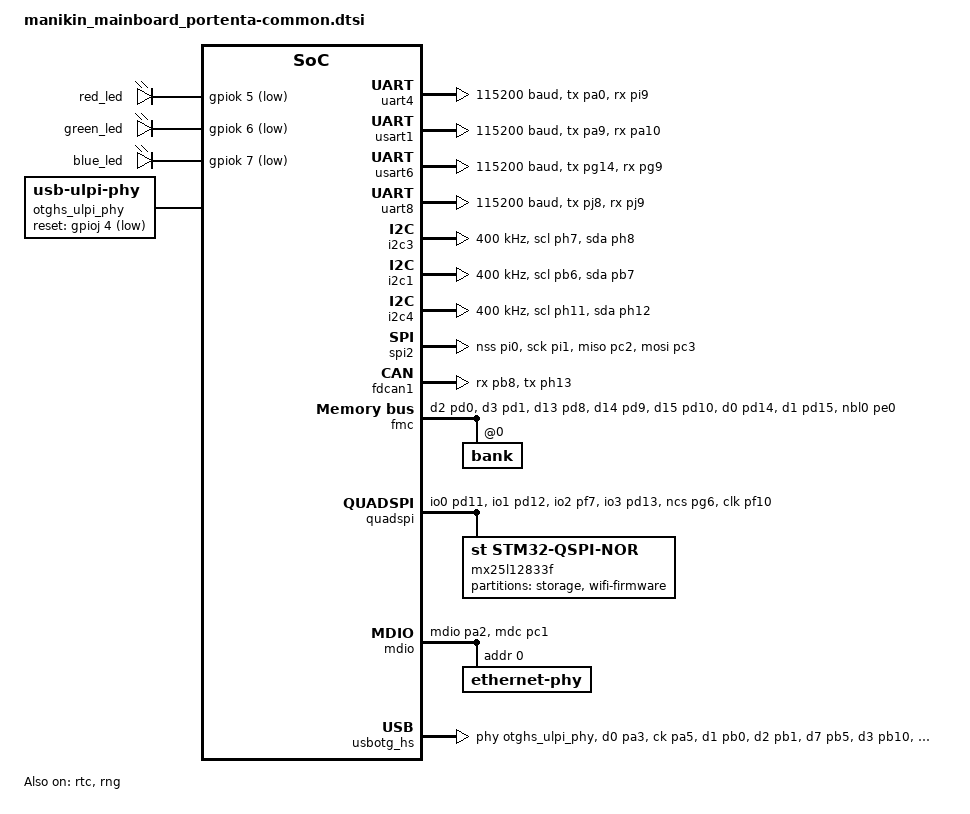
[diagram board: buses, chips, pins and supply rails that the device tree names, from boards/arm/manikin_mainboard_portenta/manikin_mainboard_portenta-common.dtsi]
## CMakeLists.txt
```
# SPDX-License-Identifier: Apache-2.0

#include <stm32h7xx_hal.h>
#include <stm32h7xx_hal_conf.h>
#include <stm32h7xx_hal_rcc.h>
#include <stm32h7xx_hal_pwr.h>

cmake_minimum_required(VERSION 3.20.0)
find_package(Zephyr REQUIRED HINTS $ENV{ZEPHYR_BASE})
project(st_ble_sensor)
zephyr_include_directories(
    src
    src/ble
    src/message_processor
)



target_sources(app PRIVATE
  src/main.c
  src/basic_implementation.c
  src/can/can_transport.c
  src/message_processor/message_processor_simple.c
  src/ble/led_svc.c
  src/ble/ble_protocol.c
  src/ble/crc/crc16_koopman.c
  src/ble/crc/crc16_koopman_hw.c
  src/session/session.c
  src/sdcard/sdcard_module.c
  src/session/led_handler.c
  )

# Add Bluetooth sample includes for reference
zephyr_library_include_directories(${ZEPHYR_BASE}/samples/bluetooth)
```

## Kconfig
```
# Kconfig - CPR Manikin BLE Communication Node

# Copyright (c) 2023 Your Company
# SPDX-License-Identifier: Apache-2.0

mainmenu "CPR Manikin BLE Configuration"

menu "CPR Manikin Application"

config CPR_MANIKIN_BLE_NOTIFICATION_QUEUE_SIZE
	int "Size of BLE notification message queue"
	default 64
	help
	  Maximum number of notifications that can be queued for sending.
	  Increasing this value will allow more notifications to be buffered
	  before dropping or blocking.

config CPR_MANIKIN_MAX_NOTIFICATION_RETRY
	int "Maximum notification retry attempts"
	default 5
	help
	  Maximum number of times to retry sending a notification
	  that failed due to memory errors.

config CPR_MANIKIN_PRIORITY_HIGH_THRESHOLD
	int "Priority threshold for high priority messages"
	default 80
	help
	  Priority value threshold for high priority messages (0-100).
	  Messages with priority >= this value are considered high priority.

config CPR_MANIKIN_PRIORITY_MEDIUM_THRESHOLD
	int "Priority threshold for medium priority messages"
	default 50
	help
	  Priority value threshold for medium priority messages (0-100).
	  Messages with priority >= this value are considered medium priority.

endmenu

source "Kconfig.zephyr"
```

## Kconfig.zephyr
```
source "Kconfig.zephyr"

config APP_STM32HAL
    bool
    default y
    depends on SOC_FAMILY_STM32
    select HAS_STM32CUBE
    select USE_STM32_HAL_CORTEX
    select USE_STM32_HAL_RCC
    select USE_STM32_HAL_GPIO
    select USE_STM32_HAL_RTC
    select USE_STM32_HAL_PWR
    select USE_STM32_HAL_DMA
    select USE_STM32_HAL_FDCAN
```

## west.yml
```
manifest:
  version: 0.11

  projects:
    - name: zephyr
      path: zephyr
      url: https://github.com/zephyrproject-rtos/zephyr
      revision: v4.1.0

    - name: ttcan_scheduler
      path: modules/lib/ttcan_scheduler
      url: https://github.com/Babypatient-kiem/ttcan_scheduler
      revision: main

  self:
    path: .
```

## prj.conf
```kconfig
# Configuration with Bluetooth enabled

CONFIG_PICOLIBC_IO_FLOAT=y
# Basic peripherals
CONFIG_GPIO=y

# Core features
CONFIG_CLOCK_CONTROL=y

# Bluetooth configuration - with increased buffer sizes
CONFIG_BT=y
CONFIG_BT_PERIPHERAL=y
CONFIG_BT_DEVICE_NAME="ManikinTest"
CONFIG_BT_RX_STACK_SIZE=4096
CONFIG_STM32H7_BOOT_M4_AT_INIT=n

CONFIG_SHELL=y
CONFIG_HEAP_MEM_POOL_SIZE=1024

# Increase BLE buffer sizes to handle larger payloads
# Use options compatible with this Zephyr version
CONFIG_BT_BUF_ACL_RX_SIZE=100
CONFIG_BT_BUF_ACL_TX_SIZE=100
CONFIG_BT_CONN_TX_MAX=10

# Ensure we can handle multiple parallel operations
CONFIG_BT_ATT_TX_COUNT=10
CONFIG_BT_ATT_PREPARE_COUNT=5

# Logging configuration
CONFIG_LOG=y
CONFIG_LOG_MAX_LEVEL=4
CONFIG_LOG_MODE_IMMEDIATE=y 
CONFIG_USE_SEGGER_RTT=y
CONFIG_LOG_BACKEND_RTT=y

# Enable CAN and ISOTP
CONFIG_CAN=y
CONFIG_CAN_DEFAULT_BITRATE=500000
CONFIG_ISOTP=y
CONFIG_ISOTP_RX_BUF_COUNT=10
CONFIG_ISOTP_TX_CONTEXT_BUF_COUNT=10
CONFIG_ISOTP_RX_SF_FF_BUF_COUNT=10
# Stack sizes
CONFIG_MAIN_STACK_SIZE=2048
CONFIG_ISR_STACK_SIZE=2048

# Console configuration
CONFIG_RTT_CONSOLE=y
CONFIG_LOG_BACKEND_UART=n
CONFIG_UART_CONSOLE=n

CONFIG_USB_DEVICE_STACK=y
CONFIG_USB_DEVICE_PRODUCT="Zephyr CDC ACM sample"
CONFIG_USB_DEVICE_PID=0x0001
CONFIG_USB_DRIVER_LOG_LEVEL_ERR=y
CONFIG_USB_DEVICE_LOG_LEVEL_ERR=y
CONFIG_SERIAL=y
CONFIG_UART_INTERRUPT_DRIVEN=y
CONFIG_UART_LINE_CTRL=y
CONFIG_USB_DEVICE_INITIALIZE_AT_BOOT=y

#enable disk
CONFIG_DISK_ACCESS=y
CONFIG_DISK_DRIVER_SDMMC=y
CONFIG_SDMMC_STM32=y
CONFIG_FILE_SYSTEM=y                     # Enables file system core
CONFIG_FAT_FILESYSTEM_ELM=y              # Enables ELM FAT driver (default for FATFS)
```

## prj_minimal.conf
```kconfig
# Minimal configuration for debugging build issues

# Basic peripherals
CONFIG_GPIO=y

# Core features
CONFIG_CLOCK_CONTROL=y

# Enable Zephyr CRC library
CONFIG_CRC=y

# Disable Bluetooth to simplify build
CONFIG_BT=n

# Memory management
CONFIG_HEAP_MEM_POOL_SIZE=32768
CONFIG_SYSTEM_WORKQUEUE_STACK_SIZE=4096

# Logging configuration - more verbose for better diagnostics
CONFIG_LOG=y
# Set to WARNING level for more detailed messages
CONFIG_LOG_MAX_LEVEL=3
CONFIG_LOG_MODE_IMMEDIATE=y 
CONFIG_USE_SEGGER_RTT=y
CONFIG_LOG_BACKEND_RTT=y

# Stack sizes
CONFIG_MAIN_STACK_SIZE=4096
CONFIG_ISR_STACK_SIZE=4096

# Console configuration - UART console disabled to avoid DTS issues
CONFIG_RTT_CONSOLE=y
CONFIG_LOG_BACKEND_UART=n
CONFIG_UART_CONSOLE=n

# Watchdog for reliability
CONFIG_WATCHDOG=y

# CPR Manikin custom configuration
CONFIG_CPR_MANIKIN_BLE_NOTIFICATION_QUEUE_SIZE=64
CONFIG_CPR_MANIKIN_MAX_NOTIFICATION_RETRY=5
CONFIG_CPR_MANIKIN_PRIORITY_HIGH_THRESHOLD=80
CONFIG_CPR_MANIKIN_PRIORITY_MEDIUM_THRESHOLD=50
```

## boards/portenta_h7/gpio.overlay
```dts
/ {
    aliases {
            led0 = &myled0;
            sw0 = &mybutton0;  // Link sw0 alias to your button
    };

    leds {
            compatible = "gpio-leds";
            myled0: led_0 {
                    gpios = <&gpiok 5 GPIO_ACTIVE_LOW>;
            };
    };
    keys {
        compatible = "gpio-keys";

        mybutton0: button_0 {
            label = "User Button";
            gpios = <&gpioc 13 (GPIO_PULL_UP | GPIO_ACTIVE_LOW)>;
        };
    };
};
```

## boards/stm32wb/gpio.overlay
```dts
/ {
    aliases {
            led0 = &myled0;
            sw0 = &mybutton0;  // Link sw0 alias to your button
    };

    leds {
            compatible = "gpio-leds";
            myled0: led_0 {
                    gpios = <&gpioa 2 GPIO_ACTIVE_LOW>;
            };
    };
    keys {
        compatible = "gpio-keys";

        mybutton0: button_0 {
            label = "User Button";
            gpios = <&gpioh 3 (GPIO_PULL_UP | GPIO_ACTIVE_LOW)>;
        };
    };
};
```

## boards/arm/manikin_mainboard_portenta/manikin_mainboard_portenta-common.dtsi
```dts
/*
 * Copyright (c) 2022 Benjamin Björnsson <benjamin.bjornsson@gmail.com>.
 *
 * SPDX-License-Identifier: Apache-2.0
 */

#include <mem.h>

/ {
	leds {
		compatible = "gpio-leds";
		red_led: led_0 {
			gpios = <&gpiok 5 GPIO_ACTIVE_LOW>;
		};
		green_led: led_1 {
			gpios = <&gpiok 6 GPIO_ACTIVE_LOW>;
		};
		blue_led: led_2 {
			gpios = <&gpiok 7 GPIO_ACTIVE_LOW>;
		};
	};

	otghs_ulpi_phy: otghs_ulpis_phy {
		compatible = "usb-ulpi-phy";
		reset-gpios = < &gpioj 4 GPIO_ACTIVE_LOW >;
		#phy-cells = <0>;
	};

	aliases {
		led0 = &red_led;
		led1 = &green_led;
		led2 = &blue_led;
	};
};

&clk_hsi48 {
	/* HSI48 required for USB */
	status = "okay";
};

&rcc {
	d1cpre = < 1 >;
	hpre = < 2 >;
	d1ppre = < 2 >;
	d2ppre1 = < 2 >;
	d2ppre2 = < 2 >;
	d3ppre = < 2 >;
};

/* UART0 in datasheet */
&uart4 {
	pinctrl-0 = <&uart4_tx_pa0 &uart4_rx_pi9>;
	pinctrl-names = "default";
	current-speed = <115200>;
};

/* UART1 in datasheet */
&usart1 {
    status = "okay";
    current-speed = <115200>;
    pinctrl-0 = <&usart1_tx_pa9 &usart1_rx_pa10>;
    pinctrl-names = "default";
};

/* UART2 in datasheet */
&usart6 {
	pinctrl-0 = <&usart6_tx_pg14 &usart6_rx_pg9>;
	pinctrl-names = "default";
	current-speed = <115200>;
};

/* UART3 in datasheet */
&uart8 {
	pinctrl-0 = <&uart8_tx_pj8 &uart8_rx_pj9>;
	pinctrl-names = "default";
	current-speed = <115200>;
};

/* I2C0 in datasheet */
&i2c3 {
	pinctrl-0 = <&i2c3_scl_ph7 &i2c3_sda_ph8>;
	pinctrl-names = "default";
	clock-frequency = <I2C_BITRATE_FAST>;
};

/* I2C1 in datasheet */
&i2c1 {
	pinctrl-0 = <&i2c1_scl_pb6 &i2c1_sda_pb7>;
	pinctrl-names = "default";
	clock-frequency = <I2C_BITRATE_FAST>;
};

/* I2C2 in datasheet */
&i2c4 {
	pinctrl-0 = <&i2c4_scl_ph11 &i2c4_sda_ph12>;
	pinctrl-names = "default";
	clock-frequency = <I2C_BITRATE_FAST>;
};

/* I2C3 in datasheet */
&i2c3 {
	pinctrl-0 = <&i2c3_scl_ph7 &i2c3_sda_ph8>;
	pinctrl-names = "default";
	clock-frequency = <I2C_BITRATE_FAST>;
};

/* SPI1 in datasheet */
&spi2 {
	pinctrl-0 = <&spi2_nss_pi0 &spi2_sck_pi1
		     &spi2_miso_pc2 &spi2_mosi_pc3>;
	pinctrl-names = "default";
};

&fdcan1 {
	pinctrl-0 = <&fdcan1_rx_pb8 &fdcan1_tx_ph13>;
	pinctrl-names = "default";
	clocks = <&rcc STM32_CLOCK_BUS_APB1_2 0x00000100>,
		 <&rcc STM32_SRC_PLL1_Q FDCAN_SEL(1)>;
};

&rtc {
	status = "okay";
};

&mailbox {
	status = "okay";
};

&fmc {
	status = "okay";
	pinctrl-0 = < &fmc_d2_pd0 &fmc_d3_pd1 &fmc_d13_pd8 &fmc_d14_pd9
		      &fmc_d15_pd10 &fmc_d0_pd14 &fmc_d1_pd15 &fmc_nbl0_pe0
		      &fmc_nbl1_pe1 &fmc_d4_pe7 &fmc_d5_pe8 &fmc_d6_pe9
		      &fmc_d7_pe10 &fmc_d8_pe11 &fmc_d9_pe12 &fmc_d10_pe13
		      &fmc_d11_pe14 &fmc_d12_pe15 &fmc_a0_pf0 &fmc_a1_pf1
		      &fmc_a2_pf2 &fmc_a3_pf3 &fmc_a4_pf4 &fmc_a5_pf5
		      &fmc_sdnras_pf11 &fmc_a6_pf12 &fmc_a7_pf13 &fmc_a8_pf14
		      &fmc_a9_pf15 &fmc_a10_pg0 &fmc_a11_pg1 &fmc_a12_pg2
		      &fmc_a14_pg4 /* FMC_BA0 */ &fmc_a15_pg5 /* FMC_BA1 */
		      &fmc_sdclk_pg8 &fmc_sdncas_pg15 &fmc_sdcke0_ph2 &fmc_sdne0_ph3
		      &fmc_sdnwe_ph5 >;
	pinctrl-names = "default";
	st,mem-swap = "disable";
	sdram {
		status = "okay";
		mode-register = < 0x220 >;

		/** From Arduino github repository:
		 *  RefreshRate = 64 ms / 8192 cyc = 7.8125 us/cyc
		 *  RefreshCycles = 7.8125 us * 90 MHz = 703
		 *  According to the formula on p.1665 of the reference manual,
		 *  we also need to subtract 20 from the value, so the target
		 *  refresh rate is 703 - 20 = 683.
		 */
		refresh-rate = < 683 >;
		num-auto-refresh = < 8 >;

		bank@0 {
			reg = < 0 >;
			st,sdram-control = < STM32_FMC_SDRAM_NC_8
					     STM32_FMC_SDRAM_NR_12
					     STM32_FMC_SDRAM_MWID_16
					     STM32_FMC_SDRAM_NB_4
					     STM32_FMC_SDRAM_CAS_2
					     STM32_FMC_SDRAM_SDCLK_PERIOD_2
					     STM32_FMC_SDRAM_RBURST_ENABLE
					     STM32_FMC_SDRAM_RPIPE_0 >;
			st,sdram-timing = < 2 7 5 7 2 3 3 >;
		};
	};
};

&quadspi {
	pinctrl-0 = < &quadspi_bk1_io0_pd11
		      &quadspi_bk1_io1_pd12
		      &quadspi_bk1_io2_pf7
		      &quadspi_bk1_io3_pd13
		      &quadspi_bk1_ncs_pg6
		      &quadspi_clk_pf10 >;
	pinctrl-names = "default";
	status = "okay";

	mx25l12833f: qspi-nor-flash@90000000 {
		compatible = "st,stm32-qspi-nor";
		reg = < 0x90000000 DT_SIZE_M(16) >; /* 128 MBits */
		qspi-max-frequency = < 40000000 >;
		sfdp-bfp = [ e5 20 f1 ff  ff ff ff 07  44 eb 08 6b  08 3b 04 bb
			     fe ff ff ff  ff ff 00 ff  ff ff 44 eb  0c 20 0f 52
			     10 d8 00 ff  82 41 bd 00  81 e5 7b c6  44 03 67 38
			     30 b0 30 b0  f7 bd d5 5c  4a be 29 ff  e1 d0 ff ff ];
		jedec-id = [ 66 66 20 ];
		spi-bus-width = <4>;
		status = "okay";

		partitions {
			compatible = "fixed-partitions";
			#address-cells = < 1 >;
			#size-cells = < 1 >;

			storage_partition: partition@0 {
				label = "storage";
				reg=< 0x0 DT_SIZE_K(15872) >;
			};

			wifi_firmware: partition@f80000 {
				label = "wifi-firmware";
				reg = < 0xf80000 DT_SIZE_K(512) >;
			};
		};
	};
};

&rng {
	status = "okay";
};

// &mac {
// 	pinctrl-0 = < &eth_ref_clk_pa1
// 		      &eth_crs_dv_pa7
// 		      &eth_rxd0_pc4
// 		      &eth_rxd1_pc5
// 		      &eth_tx_en_pg11
// 		      &eth_txd1_pg12
// 		      &eth_txd0_pg13 >;
// 	pinctrl-names = "default";
// 	status = "okay";
// };

&mdio {
	status = "okay";
	pinctrl-0 = <&eth_mdio_pa2 &eth_mdc_pc1>;
	pinctrl-names = "default";

	ethernet-phy@0 {
		compatible = "ethernet-phy";
		reg = <0x00>;
		status = "okay";
	};
};

zephyr_udc0: &usbotg_hs {
	pinctrl-0 = < &usb_otg_hs_ulpi_d0_pa3
		      &usb_otg_hs_ulpi_ck_pa5
		      &usb_otg_hs_ulpi_d1_pb0
		      &usb_otg_hs_ulpi_d2_pb1
		      &usb_otg_hs_ulpi_d7_pb5
		      &usb_otg_hs_ulpi_d3_pb10
		      &usb_otg_hs_ulpi_d4_pb11
		      &usb_otg_hs_ulpi_d5_pb12
		      &usb_otg_hs_ulpi_d6_pb13
		      &usb_otg_hs_ulpi_stp_pc0
		      &usb_otg_hs_ulpi_nxt_ph4
		      &usb_otg_hs_ulpi_dir_pi11 >;
	pinctrl-names = "default";
	phys = < &otghs_ulpi_phy >;
	maximum-speed = "high-speed";
	/* Include the USB1ULPIEN | USB1OTGHSULPIEN clock enable bit */
	clocks = <&rcc STM32_CLOCK_BUS_AHB1 0x6000000>,
		 <&rcc STM32_SRC_HSI48 USB_SEL(3)>;
	num-bidir-endpoints = < 4 >;
	status = "okay";
};
```

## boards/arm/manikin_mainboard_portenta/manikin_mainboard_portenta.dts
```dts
/dts-v1/;
#include <arm/armv7-m.dtsi>

/ {
    model = "Manikin Mainboard Portenta";
    compatible = "robotpatient,manikin-mainboard-portenta";

    chosen {
        zephyr,console = &usart1;
        zephyr,shell-uart = &usart1;
        zephyr,sram = &sram0;
        zephyr,flash = &flash0;
    };

    soc {
        compatible = "st,stm32h747", "st,stm32h7x", "simple-bus";
        
        flash0: flash@8000000 {
            compatible = "soc-nv-flash";
            reg = <0x08000000 0x200000>; /* 2MB */
        };

        sram0: memory@20000000 {
            compatible = "mmio-sram";
            reg = <0x20000000 0x80000>; /* 512KB */
        };

        usart1: serial@40011000 {
            compatible = "st,stm32-usart", "st,stm32-uart";
            reg = <0x40011000 0x400>;
            status = "okay";
        };
    };

};
```

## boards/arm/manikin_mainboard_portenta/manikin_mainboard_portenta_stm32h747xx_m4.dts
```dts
/*
 * Copyright (c) 2022 Benjamin Björnsson <benjamin.bjornsson@gmail.com>.
 *
 * SPDX-License-Identifier: Apache-2.0
 */

/dts-v1/;
#include <st/h7/stm32h747Xi_m4.dtsi>
#include <st/h7/stm32h747xihx-pinctrl.dtsi>
#include "manikin_mainboard_portenta-common.dtsi"

/ {
	model = "Manikin Mainboard Portenta";
	compatible = "robotpatient,mainboard-portenta";

	/* HW resources are split between CM7 and CM4 */

	chosen {
		zephyr,console = &usart1;
		zephyr,shell-uart = &usart1;
		zephyr,sram = &sram1;
		zephyr,flash = &flash1;
	};
};

&rcc {
	clock-frequency = <DT_FREQ_M(200)>;
};

&usart1 {
	status = "okay";
};
```

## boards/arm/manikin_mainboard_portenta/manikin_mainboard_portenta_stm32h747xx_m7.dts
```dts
/*
 * Copyright (c) 2022 Benjamin Björnsson <benjamin.bjornsson@gmail.com>.
 *
 * SPDX-License-Identifier: Apache-2.0
 */

 /dts-v1/;
 //#include <st/h7/stm32h747.dtsi>
 #include <st/h7/stm32h747Xi_m7.dtsi>
 #include <st/h7/stm32h747xihx-pinctrl.dtsi>
 #include "manikin_mainboard_portenta-common.dtsi"
 #include <../boards/common/usb/cdc_acm_serial.dtsi>
 
 / {
	 model = "Manikin Mainboard Portenta STM32H747XX M7";
	 compatible = "robotpatient,manikin-mainboard-portenta-stm32h747xx-m7";
 
	 /* HW resources are split between CM7 and CM4 */
	 chosen {
		 zephyr,console = &usart1;
		 zephyr,shell-uart = &usart1;
		 zephyr,sram = &sram0;
		 zephyr,flash = &flash0;
		 zephyr,bt-hci = &bt_hci_uart;
		 zephyr,code-partition = &slot0_partition;
	 };
 
	 oscen: oscen {
		 compatible = "regulator-fixed";
		 regulator-name = "oscen";
		 enable-gpios = <&gpioh 1 GPIO_ACTIVE_HIGH>;
		 regulator-boot-on;
		 status = "okay";
	 };
 
	 ethernet_phy_en: ethernet_phy_en {
		 compatible = "regulator-fixed";
		 regulator-name = "ethernet-phy-reset-release";
		 enable-gpios = <&gpioj 15 GPIO_ACTIVE_HIGH>;
		 regulator-boot-on;
		 status = "okay";
	 };
 
	 sdram1: sdram@c0000000 {
		 compatible = "zephyr,memory-region", "mmio-sram";
		 device_type = "memory";
		 reg = <0xc0000000 DT_SIZE_M(8)>;
		 zephyr,memory-region = "SDRAM1";
		 zephyr,memory-attr = <( DT_MEM_ARM(ATTR_MPU_RAM) )>;
	 };
 };
 
 
 &clk_hse {
	 clock-frequency = <DT_FREQ_M(25)>;
	 hse-bypass;
	 status = "okay";
 };
 
 &clk_hsi {
	 hsi-div = <1>;
	 status = "okay";
 };
 
 &pll {
	 div-m = <5>;
	 mul-n = <96>;
	 div-p = <2>;
	 div-q = <10>;
	 div-r = <2>;
	 clocks = <&clk_hse>;
	 status = "okay";
 };
 
 /** The power supply for the Portenta H7 is based on a ST PSU reference design.
  *  The design specification from this reference design limits the maximum
  *  clock speed to 400 MHz.
  *        Refer: section 8.1 of the reference design guide.
  */
 
 &rcc {
	 clocks = <&pll>;
	 clock-frequency = <DT_FREQ_M(240)>;
 };
 
 /* USART1 is enabled on M4 by default */
 &usart1 {
	 status = "disabled";
 };
 
 &i2c1 {
	 status = "okay";
 
	 pf1550: pmic@8 {
		 status = "okay";
		 reg = <0x8>;
		 compatible = "nxp,pf1550";
 
		 pmic_regulators: regulators {
			 status = "okay";
			 compatible = "nxp,pf1550-regulator";
			 pf1550_sw1: BUCK1 {
				 regulator-init-microvolt = <3000000>;
				 regulator-boot-on;
			 };
			 pf1550_sw2: BUCK2 {
				 regulator-init-microvolt = <3300000>;
				 regulator-boot-on;
			 };
			 pf1550_sw3: BUCK3 {
				 regulator-init-microvolt = <3300000>;
				 regulator-init-microamp = <2000000>;
				 regulator-boot-on;
			 };
			 pf1550_ldo1: LDO1 {
				 regulator-init-microvolt = <1000000>;
				 regulator-boot-on;
			 };
			 pf1550_ldo2: LDO2 {
				 regulator-init-microvolt = <1800000>;
				 regulator-boot-on;
			 };
			 pf1550_ldo3: LDO3 {
				 regulator-init-microvolt = <1200000>;
				 regulator-boot-on;
			 };
		 };
 
		 pmic_charger: charger {
			 status = "okay";
			 compatible = "nxp,pf1550-charger";
			 constant-charge-current-max-microamp = <100000>;
			 constant-charge-voltage-max-microvolt = <4200000>;
			 pf1550,int-gpios = <&gpiok 0 0>;
			 pf1550,led-behaviour = "manual-off";
			 pf1550,system-voltage-min-threshold-microvolt = <3500000>;
			 pf1550,thermistor-monitoring-mode = "thermistor";
			 pf1550,vbus-current-limit-microamp = <1500000>;
		 };
	 };
 };
 
 /* Only one should be enabled */
 &usbotg_fs {
	 status = "disabled";
 };
 
 &usbotg_hs {
	 status = "okay";
 };
 
 &flash0 {
	 partitions {
		 compatible = "fixed-partitions";
		 #address-cells = <1>;
		 #size-cells = <1>;
 
		 /* The arduino default bootloader occupies the address space 0x0 - 0x40000.
		  * This way regardless of the user's choice to use the mcuboot bootloader,
		  * applications will be located at 0x40000 which will be loaded by the
		  * arduino bootloader.
		  */
		 slot0_partition: partition@ff800 {
			 label = "image-0";
			 reg = <0x000ff800 DT_SIZE_K(2)>;
		 };
	 };
 };
 
 &uart7 {
	 pinctrl-0 = <&uart7_tx_pa15 &uart7_rx_pf6
			  &uart7_cts_pf9 &uart7_rts_pf8>;
	 pinctrl-names = "default";
	 current-speed = <115200>;
	 hw-flow-control;
	 status = "okay";
 
	 bt_hci_uart: bt_hci_uart {
		 compatible = "zephyr,bt-hci-uart";
		 status = "okay";
 
		 murata-1dx {
			 compatible = "infineon,cyw43xxx-bt-hci";
			 bt-reg-on-gpios = <&gpioj 12 GPIO_ACTIVE_HIGH>;
			 bt-host-wake-gpios = <&gpioj 13 GPIO_ACTIVE_HIGH>;
			 bt-dev-wake-gpios = <&gpioj 14 GPIO_ACTIVE_HIGH>;
		 };
	 };
 };

 &sdmmc2 {
    bus-width = <4>;
    pinctrl-0 = <&sdmmc2_d0_pb14 &sdmmc2_d1_pb15 &sdmmc2_d2_pb3 &sdmmc2_d3_pb4 &sdmmc2_ck_pd6 &sdmmc2_cmd_pd7>;
    pinctrl-names = "default";
	status = "okay";
	clk-div = <1>; 
	disk-name = "SD";
	idma;
};

&sdmmc1 {
    pinctrl-0 = <&sdmmc1_d0_pc8 &sdmmc1_d1_pc9 &sdmmc1_d2_pc10 &sdmmc1_d3_pc11 &sdmmc1_ck_pc12 &sdmmc1_cmd_pd2>;
	pinctrl-names = "default";
	status = "okay";
	airoc-wifi {
      status = "okay";
      compatible = "infineon,airoc-wifi";

      /* Wi-Fi control gpios */
      wifi-reg-on-gpios    = <&gpioa 6 GPIO_ACTIVE_HIGH>;
      wifi-host-wake-gpios = <&gpioa 4 GPIO_ACTIVE_HIGH>;
    };
};
```

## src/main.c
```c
#include <string.h>
#include <zephyr/kernel.h>
#include <session/session.h>
#include <can/can_transport.h>

#include <zephyr/drivers/can.h>
#include <zephyr/logging/log.h>

/**
 * @brief Main application entry point.
 *
 */
int main(void)
{
    k_sleep(K_MSEC(1000));
    can_transport_init();
    session_init();
    // ENABLE PE3


    while (1)
    {
        k_msleep(1000);
    }
}
```

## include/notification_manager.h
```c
/**
 * @file notification_manager.h
 * @brief Priority queue for BLE notifications to prevent ENOMEM errors
 */

#ifndef NOTIFICATION_MANAGER_H
#define NOTIFICATION_MANAGER_H

#include <zephyr/types.h>
#include <zephyr/bluetooth/conn.h>
#include <zephyr/bluetooth/gatt.h>

/**
 * @brief Priority levels for messages
 */
#define NOTIF_PRIORITY_LOW    10    /* Low priority, can be dropped */
#define NOTIF_PRIORITY_MEDIUM 50    /* Medium priority */
#define NOTIF_PRIORITY_HIGH   80    /* High priority, should be sent */
#define NOTIF_PRIORITY_CRITICAL 100 /* Critical priority, must be sent */

/**
 * @brief Initialize the notification manager
 * 
 * @param chr GATT characteristic to send notifications on
 * @return 0 on success, negative error code on failure
 */
int notification_manager_init(const struct bt_gatt_attr *chr);

/**
 * @brief Add a notification to the queue
 * 
 * @param data Data buffer to send
 * @param len Length of data buffer
 * @param priority Priority of notification (0-100)
 * @param critical Whether this is a critical message
 * @return 0 on success, negative error code on failure
 */
int notification_manager_add(const uint8_t *data, uint16_t len, 
                           uint8_t priority, bool critical);

/**
 * @brief Process notifications in the queue
 * 
 * Should be called periodically to send queued notifications
 * 
 * @return 0 on success, negative error code on failure
 */
int notification_manager_process(void);

/**
 * @brief Get the number of notifications in the queue
 * 
 * @return Number of notifications
 */
uint32_t notification_manager_get_count(void);

/**
 * @brief Clear the notification queue
 */
void notification_manager_clear(void);

/**
 * @brief Check if we're currently experiencing memory pressure
 * 
 * @return true if memory errors are frequent
 */
bool notification_manager_has_memory_pressure(void);

#endif /* NOTIFICATION_MANAGER_H */
```

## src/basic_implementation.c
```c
/*
 * Basic implementation with core system functionality
 */
#include <zephyr/kernel.h>
#include <zephyr/logging/log.h>

LOG_MODULE_REGISTER(basic_impl, LOG_LEVEL_INF);

/* Simple timer callback for heartbeat */
static void heartbeat_timer_callback(struct k_timer *timer)
{
}

/* Define a timer for heartbeat function */
K_TIMER_DEFINE(basic_heartbeat_timer, heartbeat_timer_callback, NULL);

/* Initialize the basic system functionality */
void basic_implementation_init(void)
{
    LOG_INF("Basic implementation initialized");
    
    /* Start a simple heartbeat timer */
    k_timer_start(&basic_heartbeat_timer, K_MSEC(1000), K_MSEC(1000));
}
```

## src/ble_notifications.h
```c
/**
 * @file ble_notifications.h
 * @brief BLE notification message types and constants
 */
#ifndef BLE_NOTIFICATIONS_H
#define BLE_NOTIFICATIONS_H

#include <zephyr/kernel.h>

/* Protocol format constants */
#define BLE_COMMAND_BYTE_START     0x01    /* Start byte that must be included in all messages */
#define BLE_COMMAND_MSG_COLON      0x3A    /* Colon separator before message content (0x3A) */
#define BLE_COMMAND_MSG_SEMICOLON  0x3B    /* Semicolon separator after message content (0x3B) */
#define BLE_COMMAND_MSG_END        0x17    /* End byte that must be included in all messages */

/* Message types for BLE notifications */
#define NOTIFY_TYPE_HEARTBEAT      0x01    /* Heartbeat notification with counter */
#define NOTIFY_TYPE_LED_STATE      0x10    /* LED state notification */
#define NOTIFY_TYPE_TIME_DATA      0x20    /* Time data notification */
#define NOTIFY_TYPE_CPR_TIME       0x30    /* CPR session time progress notification */
#define NOTIFY_TYPE_CPR_STATE      0x40    /* CPR session state change notification */
#define NOTIFY_TYPE_USER_ROLE      0x50    /* User role notification */
#define NOTIFY_TYPE_CPR_CMD_ACK    0x60    /* CPR command acknowledgment */

/* Command types - aligned with protocol spec */
/* These are already defined in message_processor.h, so don't redefine them here */
/* #define CPR_CONTROL_START          0x02 */    /* Start CPR command */
/* #define CPR_COMMAND_STOP           0x03 */    /* Stop CPR command */
#define CMD_COMMAND_DATA           0x04    /* Send ID data command */
#define CMD_COMMAND_TIMEDATA       0x05    /* Send date/time command */

/* CPR command IDs for acknowledgments - internal use */
#define CPR_CMD_START              0x01    /* Start CPR command ack */
#define CPR_CMD_STOP               0x02    /* Stop CPR command ack */

/* Status codes for acknowledgments */
#define STATUS_OK                  0x00    /* Command executed successfully */
#define STATUS_ERROR               0x01    /* Command execution failed */

#endif /* BLE_NOTIFICATIONS_H */
```

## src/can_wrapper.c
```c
#include "can_wrapper.h"
#include "ttcan_scheduler.h"

#include <zephyr/kernel.h>
#include <zephyr/sys/printk.h>
#include <zephyr/device.h>
#include <zephyr/drivers/can.h>
#include <zephyr/drivers/gpio.h>
#include <zephyr/sys/byteorder.h>

#define RX_THREAD_STACK_SIZE 512
#define RX_THREAD_PRIORITY 2
#define STATE_POLL_THREAD_STACK_SIZE 512
#define STATE_POLL_THREAD_PRIORITY 2
#define LED_MSG_ID 0x10
#define COUNTER_MSG_ID 0x12345
#define SET_LED 1
#define RESET_LED 0
#define SLEEP_TIME K_MSEC(250)

uint8_t ttcan_tick_cnt[8];

/* Simple timer handle for TTCAN */
static uint8_t timer_handle_storage[4];
ttcan_timer_type_t timer_handle = timer_handle_storage;
uint8_t ttcan_sens_ctrl[2] = {0x20,0x40};
uint8_t ttcan_sens_data[2] = {0x50,0x70};
ttcan_data_timeslot_t ttcan_messages[] = {
    {
        .node_id = 10,
        .window_num = 0,
        .message_type = TTCAN_MSG_READ,
        .data_ptr = &ttcan_sens_ctrl[0],
        .num_of_bytes = sizeof(ttcan_sens_ctrl),
    },
    {
        .node_id = 10,
        .window_num = 1,
        .message_type = TTCAN_MSG_WRITE,
        .data_ptr = &ttcan_sens_ctrl[0],
        .num_of_bytes = sizeof(ttcan_sens_ctrl),
    },
    {
        .node_id = 10,
        .window_num = 2,
        .message_type = TTCAN_MSG_WRITE,
        .data_ptr = &ttcan_sens_data[0],
        .num_of_bytes = sizeof(ttcan_sens_data),
    },
    {
        .node_id = 10,
        .window_num = 10,
        .message_type = TTCAN_MSG_WRITE,
        .data_ptr = &ttcan_sens_data[0],
        .num_of_bytes = sizeof(ttcan_sens_data),
    },
};

ttcan_schedule_t ttcan_schedule = {
    .node_id = 0,
    .messages = ttcan_messages,
    .num_of_messages = (sizeof(ttcan_messages) / sizeof(ttcan_messages[0])),
    .tick_frequency = 1000,
    .ref_tick_frequency = 100,
    .tick_window_size = 1,
    .free_tick_window_size = 1,
};
ttcan_scheduler_ctx_t ctx;

K_THREAD_STACK_DEFINE(rx_thread_stack, RX_THREAD_STACK_SIZE);
K_THREAD_STACK_DEFINE(poll_state_stack, STATE_POLL_THREAD_STACK_SIZE);

/* Define a placeholder for the CAN device */
#define MY_DEVICE_DTS_FAKE 1
const struct device *can_dev = NULL; // Initialize to NULL

struct gpio_dt_spec led = GPIO_DT_SPEC_GET_OR(DT_ALIAS(led0), gpios, {0});

struct k_thread rx_thread_data;
struct k_thread poll_state_thread_data;
struct k_work_poll change_led_work;
struct k_work state_change_work;
enum can_state current_state;
struct can_bus_err_cnt current_err_cnt;

CAN_MSGQ_DEFINE(change_led_msgq, 2);
CAN_MSGQ_DEFINE(counter_msgq, 2);

static struct k_poll_event change_led_events[1] = {
    K_POLL_EVENT_STATIC_INITIALIZER(K_POLL_TYPE_MSGQ_DATA_AVAILABLE,
                                    K_POLL_MODE_NOTIFY_ONLY,
                                    &change_led_msgq, 0)};

void tx_irq_callback(const struct device *dev, int error, void *arg)
{
    char *sender = (char *)arg;

    ARG_UNUSED(dev);

    if (error != 0)
    {
        printf("Callback! error-code: %d\nSender: %s\n",
               error, sender);
    }
}

void rx_thread(void *arg1, void *arg2, void *arg3)
{
    ARG_UNUSED(arg1);
    ARG_UNUSED(arg2);
    ARG_UNUSED(arg3);
    
    /* Disabled CAN thread - just sleep forever */
    printf("CAN RX thread started (but CAN disabled)\n");
    
    while (1) {
        k_sleep(K_SECONDS(10));
    }
}

void change_led_work_handler(struct k_work *work)
{
    /* Disabled CAN work handler */
    printf("LED work handler called (but CAN disabled)\n");
}

char *state_to_str(enum can_state state)
{
    switch (state)
    {
    case CAN_STATE_ERROR_ACTIVE:
        return "error-active";
    case CAN_STATE_ERROR_WARNING:
        return "error-warning";
    case CAN_STATE_ERROR_PASSIVE:
        return "error-passive";
    case CAN_STATE_BUS_OFF:
        return "bus-off";
    case CAN_STATE_STOPPED:
        return "stopped";
    default:
        return "unknown";
    }
}

void poll_state_thread(void *unused1, void *unused2, void *unused3)
{
    /* Disabled CAN state poll thread */
    printf("CAN state poll thread started (but CAN disabled)\n");
    
    while (1) {
        /* Just sleep */
        k_sleep(K_SECONDS(10));
    }
}

void state_change_work_handler(struct k_work *work)
{
    printf("CAN state handler disabled\n");
}

/* Simplified callback just for compilation */
void state_change_callback(const struct device *dev, enum can_state state,
                           struct can_bus_err_cnt err_cnt, void *user_data)
{
    /* Disabled */
}

uint8_t toggle = 1;
uint16_t counter = 0;
struct can_frame change_led_frame = {
    .flags = 0,
    .id = LED_MSG_ID,
    .dlc = 1};

struct can_frame schedule_frame = {
        .flags = 0,
        .id = LED_MSG_ID,
        .dlc = 1};
        

struct can_frame counter_frame = {
    .flags = CAN_FRAME_IDE,
    .id = COUNTER_MSG_ID,
    .dlc = 2};

int init_can()
{
    int ret = 0;
    
    /* Initialize TTCAN scheduler regardless of CAN availability */
    ctx.schedule = &ttcan_schedule;
    ctx.master_mode_en = 1;
    ctx.timer = timer_handle;
    ctx.curr_timeslot = 0;
    ctx.curr_window = 0;
    ctx.curr_sched_idx = 0;
    
    /* Initialize the TTCAN scheduler */
    ttcan_scheduler_init(&ctx);
    printf("TTCAN scheduler initialized with %d messages\n", ttcan_schedule.num_of_messages);

    /* Skip actual CAN initialization for now */
    printf("CAN: Skipping hardware initialization\n");
    return 0;

#if 0  /* Disabled CAN initialization that requires hardware */
    const struct can_filter change_led_filter = {
        .flags = 0U,
        .id = LED_MSG_ID,
        .mask = CAN_STD_ID_MASK};

    k_tid_t rx_tid, get_state_tid;

    /* Look up the CAN device - check if the chosen node exists first */
#if DT_HAS_CHOSEN(zephyr_canbus)
    can_dev = DEVICE_DT_GET_OR_NULL(DT_CHOSEN(zephyr_canbus));
#endif
    
    if (can_dev == NULL) {
        printf("CAN: No device available\n");
        return -ENODEV;
    }
#endif
    
    /* Disabled until CAN support is properly available
    if (!device_is_ready(can_dev))
    {
        printf("CAN: Device %s not ready.\n", can_dev->name);
        return 0; 
    }
    */

    /* We've disabled CAN functionality for now since it's not available on this board
     * This will be re-enabled when proper CAN hardware is available.
     */
    
    printf("Finished init (CAN disabled).\n");
    return 0;
}

void send_can()
{
    /* Disabled CAN functionality */
    printf("CAN sending disabled - no hardware support\n");
    
    /* Still toggle the counter for simulation */
    toggle++;
    counter++;
    k_sleep(SLEEP_TIME);
}

void ttcan_timer_trigger(struct k_timer *timer_id)
{
    /* Simplified TTCAN timer callback - just logs a message to avoid crashing */
    printk("TTCAN timer triggered - system is alive\n");
}

void ttcan_timer_stop(struct k_timer *timer_id)
{
    printk("Timer stopped.\n");
}
```

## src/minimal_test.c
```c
/*
 * Minimal test program for debugging boot issues
 */
#include <zephyr/kernel.h>
#include <zephyr/logging/log.h>

LOG_MODULE_REGISTER(minimal_test, LOG_LEVEL_INF);

/* Simple timer callback for heartbeat */
static void heartbeat_timer_callback(struct k_timer *timer)
{
    LOG_INF("Heartbeat timer triggered");
}

/* Define a timer for heartbeat function */
K_TIMER_DEFINE(heartbeat_timer, heartbeat_timer_callback, NULL);

/* Minimal entry point to verify basic Zephyr functionality */
void minimal_test_init(void)
{
    LOG_INF("Minimal test program initialized");
    
    /* Start a simple heartbeat timer */
    k_timer_start(&heartbeat_timer, K_MSEC(1000), K_MSEC(1000));
}
```

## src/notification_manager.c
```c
/**
 * @file notification_manager.c
 * @brief Priority queue for BLE notifications to prevent ENOMEM errors
 */

#include <zephyr/kernel.h>
#include <zephyr/bluetooth/bluetooth.h>
#include <zephyr/bluetooth/conn.h>
#include <zephyr/bluetooth/gatt.h>
#include <zephyr/logging/log.h>
#include <string.h>

#include "notification_manager.h"

LOG_MODULE_REGISTER(notif_manager, CONFIG_LOG_DEFAULT_LEVEL);


/* Size of notification queue from Kconfig */
#define QUEUE_SIZE CONFIG_CPR_MANIKIN_BLE_NOTIFICATION_QUEUE_SIZE
#define MAX_RETRIES CONFIG_CPR_MANIKIN_MAX_NOTIFICATION_RETRY
#define PRIORITY_HIGH CONFIG_CPR_MANIKIN_PRIORITY_HIGH_THRESHOLD
#define PRIORITY_MEDIUM CONFIG_CPR_MANIKIN_PRIORITY_MEDIUM_THRESHOLD

/* Notification item structure */
struct notification_item {
    uint8_t data[256];            /* Notification data buffer */
    uint16_t len;                 /* Length of data */
    uint8_t priority;             /* Priority (0-100) */
    bool critical;                /* Critical notification flag */
    uint8_t retry_count;          /* Number of retry attempts */
    bool in_use;                  /* Whether this slot is in use */
};

/* Queue for notifications */
static struct notification_item queue[QUEUE_SIZE];
static uint32_t queue_count = 0;

/* GATT characteristic to notify on */
static const struct bt_gatt_attr *notify_attr;

/* Memory error tracking */
#define ERROR_TRACKING_WINDOW_MS 10000  /* 10 second window */
static uint32_t memory_error_count = 0;
static uint32_t last_memory_error_time = 0;

/* Mutex for queue access */
K_MUTEX_DEFINE(queue_mutex);

/* Work for delayed notification sending */
static struct k_work_delayable notify_work;

/**
 * @brief Find the highest priority notification in the queue
 * 
 * @return Index of highest priority notification, or -1 if queue empty
 */
static int find_highest_priority(void)
{
    int highest_idx = -1;
    uint8_t highest_pri = 0;
    
    for (int i = 0; i < QUEUE_SIZE; i++) {
        if (queue[i].in_use && queue[i].priority > highest_pri) {
            highest_pri = queue[i].priority;
            highest_idx = i;
        }
    }
    
    return highest_idx;
}

/**
 * @brief Calculate backoff time for retry
 * 
 * @param retry_count Current retry count
 * @return Backoff time in milliseconds
 */
static uint32_t calculate_backoff(uint8_t retry_count)
{
    /* Base backoff (exponential) */
    uint32_t backoff = 100 * (1 << retry_count);
    
    /* Add memory pressure consideration */
    if (memory_error_count > 3) {
        backoff += memory_error_count * 100;
    }
    
    /* Add jitter */
    backoff += (sys_rand32_get() % 50);
    
    /* Cap backoff */
    if (backoff > 5000) {
        backoff = 5000;
    }
    
    return backoff;
}

/**
 * @brief Record a memory error 
 */
static void record_memory_error(void)
{
    uint32_t now = k_uptime_get_32();
    
    /* Reset count if outside window */
    if ((now - last_memory_error_time) > ERROR_TRACKING_WINDOW_MS) {
        memory_error_count = 0;
    }
    
    memory_error_count++;
    last_memory_error_time = now;
    
    LOG_WRN("BLE memory error recorded (count: %d)", memory_error_count);
}

/**
 * @brief Send a notification to the device
 * 
 * @param data Data buffer to send
 * @param len Length of the data
 * @return 0 on success, negative error code on failure
 */
static int send_notification(const uint8_t *data, uint16_t len)
{
    int err;
    
    /* Send notification */
    err = bt_gatt_notify(NULL, notify_attr, data, len);
    
    /* Handle errors */
    if (err == -ENOMEM) {
        record_memory_error();
        LOG_ERR("Notification failed (err %d): ENOMEM - Out of memory", err);
        
        if (memory_error_count >= 5) {
            LOG_WRN("Severe memory constraints (count %d), delaying acknowledgments", 
                  memory_error_count);
        }
    } else if (err) {
        LOG_ERR("Notification failed with error: %d", err);
    }
    
    return err;
}

/**
 * @brief Process the next notification in the queue
 * 
 * @return 0 on success, negative error code on failure
 */
static int process_next_notification(void)
{
    int idx, err;
    
    /* Lock the queue */
    k_mutex_lock(&queue_mutex, K_FOREVER);
    
    /* Find highest priority notification */
    idx = find_highest_priority();
    if (idx < 0) {
        /* No notifications to process */
        k_mutex_unlock(&queue_mutex);
        return 0;
    }
    
    /* Get notification data */
    uint8_t data[256];
    uint16_t len = queue[idx].len;
    uint8_t priority = queue[idx].priority;
    bool critical = queue[idx].critical;
    uint8_t retry_count = queue[idx].retry_count;
    
    /* Copy data to local buffer */
    memcpy(data, queue[idx].data, len);
    
    /* Unlock the queue during sending */
    k_mutex_unlock(&queue_mutex);
    
    /* Send the notification */
    err = send_notification(data, len);
    
    /* Handle errors */
    if (err == -ENOMEM) {
        /* Only retry high priority or critical notifications */
        if ((priority >= PRIORITY_HIGH || critical) && retry_count < MAX_RETRIES) {
            /* Lock queue for update */
            k_mutex_lock(&queue_mutex, K_FOREVER);
            
            /* Update retry count */
            queue[idx].retry_count++;
            
            /* Calculate backoff time */
            uint32_t backoff = calculate_backoff(retry_count);
            
            LOG_WRN("ENOMEM on %s notification - backing off for %d ms (attempt %d/%d)",
                   critical ? "critical" : "high priority",
                   backoff, retry_count + 1, MAX_RETRIES);
            
            /* Schedule delayed retry */
            k_work_schedule(&notify_work, K_MSEC(backoff));
            
            k_mutex_unlock(&queue_mutex);
            
            /* Sleep briefly to allow BLE stack to recover */
            uint32_t recovery_delay = 350;
            LOG_INF("Sleeping for %d ms to allow BLE stack to recover", recovery_delay);
            k_sleep(K_MSEC(recovery_delay));
        } else {
            /* Remove from queue */
            k_mutex_lock(&queue_mutex, K_FOREVER);
            queue[idx].in_use = false;
            queue_count--;
            k_mutex_unlock(&queue_mutex);
            
            if (retry_count >= MAX_RETRIES) {
                LOG_ERR("Failed to send notification after %d retries", retry_count);
            } else {
                LOG_WRN("Dropped low priority notification due to memory constraints");
            }
        }
    } else {
        /* Success or non-memory error - remove from queue */
        k_mutex_lock(&queue_mutex, K_FOREVER);
        queue[idx].in_use = false;
        queue_count--;
        k_mutex_unlock(&queue_mutex);
        
        if (err) {
            LOG_ERR("Failed to send notification: %d", err);
        }
    }
    
    return err;
}

/**
 * @brief Handler for the notification work
 */
static void notify_work_handler(struct k_work *work)
{
    /* Process next notification */
    process_next_notification();
    
    /* If still items in queue and no memory pressure, schedule again */
    k_mutex_lock(&queue_mutex, K_FOREVER);
    bool has_items = (queue_count > 0);
    k_mutex_unlock(&queue_mutex);
    
    if (has_items && memory_error_count < 3) {
        k_work_schedule(&notify_work, K_NO_WAIT);
    }
}

/**
 * @brief Initialize the notification manager
 * 
 * @param chr GATT characteristic to send notifications on
 * @return 0 on success, negative error code on failure
 */
int notification_manager_init(const struct bt_gatt_attr *chr)
{
    if (!chr) {
        return -EINVAL;
    }
    
    /* Store characteristic */
    notify_attr = chr;
    
    /* Initialize queue */
    k_mutex_lock(&queue_mutex, K_FOREVER);
    memset(queue, 0, sizeof(queue));
    queue_count = 0;
    k_mutex_unlock(&queue_mutex);
    
    /* Initialize work */
    k_work_init_delayable(&notify_work, notify_work_handler);
    
    LOG_INF("Notification manager initialized (queue size: %d)", QUEUE_SIZE);
  
    return 0;
}

/**
 * @brief Add a notification to the queue
 * 
 * @param data Data buffer to send
 * @param len Length of data buffer
 * @param priority Priority of notification (0-100)
 * @param critical Whether this is a critical message
 * @return 0 on success, negative error code on failure
 */
int notification_manager_add(const uint8_t *data, uint16_t len, 
                           uint8_t priority, bool critical)
{
    int idx = -1;
    
    if (!data || len == 0 || len > 255) {
        return -EINVAL;
    }
    
    k_mutex_lock(&queue_mutex, K_FOREVER);
    
    /* Find a free slot or lowest priority slot if full */
    if (queue_count < QUEUE_SIZE) {
        /* Find free slot */
        for (int i = 0; i < QUEUE_SIZE; i++) {
            if (!queue[i].in_use) {
                idx = i;
                break;
            }
        }
    } else {
        /* Queue full - find lowest priority item for replacement */
        uint8_t lowest_pri = 255;
        int lowest_idx = -1;
        
        for (int i = 0; i < QUEUE_SIZE; i++) {
            if (!queue[i].critical && queue[i].priority < lowest_pri) {
                lowest_pri = queue[i].priority;
                lowest_idx = i;
            }
        }
        
        /* Only replace if new item has higher priority */
        if (lowest_idx >= 0 && (priority > lowest_pri || critical)) {
            idx = lowest_idx;
            LOG_WRN("Queue full - replacing pri=%d with pri=%d%s", 
                   lowest_pri, priority, critical ? " (critical)" : "");
        }
    }
    
    /* If no slot found, return error */
    if (idx < 0) {
        k_mutex_unlock(&queue_mutex);
        LOG_WRN("Failed to add notification - queue full");
        return -ENOMEM;
    }
    
    /* Add to queue */
    memcpy(queue[idx].data, data, len);
    queue[idx].len = len;
    queue[idx].priority = priority;
    queue[idx].critical = critical;
    queue[idx].retry_count = 0;
    queue[idx].in_use = true;
    
    /* Update count */
    if (queue_count < QUEUE_SIZE) {
        queue_count++;
    }
    
    /* Check if this is the first item */
    bool was_empty = (queue_count == 1);
    
    k_mutex_unlock(&queue_mutex);
    
    /* Schedule processing if this was the first item */
    if (was_empty) {
        k_work_schedule(&notify_work, K_NO_WAIT);
    }
    
    return 0;
}

/**
 * @brief Process notifications in the queue
 * 
 * Should be called periodically to send queued notifications
 * 
 * @return 0 on success, negative error code on failure
 */
int notification_manager_process(void)
{
    k_mutex_lock(&queue_mutex, K_FOREVER);
    bool has_items = (queue_count > 0);
    k_mutex_unlock(&queue_mutex);
    
    if (!has_items) {
        return 0;
    }
    
    return process_next_notification();
}

/**
 * @brief Get the number of notifications in the queue
 * 
 * @return Number of notifications
 */
uint32_t notification_manager_get_count(void)
{
    uint32_t count;
    
    k_mutex_lock(&queue_mutex, K_FOREVER);
    count = queue_count;
    k_mutex_unlock(&queue_mutex);
    
    return count;
}

/**
 * @brief Clear the notification queue
 */
void notification_manager_clear(void)
{
    k_mutex_lock(&queue_mutex, K_FOREVER);
    
    /* Clear all items */
    memset(queue, 0, sizeof(queue));
    queue_count = 0;
    
    k_mutex_unlock(&queue_mutex);
    
    /* Cancel any pending work */
    k_work_cancel_delayable(&notify_work);
    
    LOG_INF("Notification queue cleared");
}

/**
 * @brief Check if we're currently experiencing memory pressure
 * 
 * @return true if memory errors are frequent
 */
bool notification_manager_has_memory_pressure(void)
{
    bool has_pressure;
    
    k_mutex_lock(&queue_mutex, K_FOREVER);
    has_pressure = (memory_error_count >= 3);
    k_mutex_unlock(&queue_mutex);
    
    return has_pressure;
}
```

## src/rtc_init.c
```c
#include <stm32h7xx.h>
#include <stm32h7xx_hal.h>
#include <stm32h7xx_hal_conf.h>
#include <stm32h7xx_hal_rcc.h>
#include <stm32h7xx_hal_pwr.h>
#include <zephyr/init.h>
#include <zephyr/kernel.h>

static int rtc_hw_init(void)
{
    /* Enable write access to Backup domain */
    HAL_PWR_EnableBkUpAccess();

    /* Optional: Enable LSE if not done via devicetree/clock driver */
    // __HAL_RCC_LSE_CONFIG(RCC_LSE_ON);
    // while (__HAL_RCC_GET_FLAG(RCC_FLAG_LSERDY) == RESET);

    return 0;
}

/* Register the function to run at pre-kernel init (before clock subsystem) */
SYS_INIT(rtc_hw_init, PRE_KERNEL_1, CONFIG_KERNEL_INIT_PRIORITY_DEFAULT);
```

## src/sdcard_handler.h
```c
/**
 * @file sdcard_handler.h
 * @brief SD card handling functions
 */

#ifndef SDCARD_HANDLER_H
#define SDCARD_HANDLER_H

#include <zephyr/kernel.h>
#include <zephyr/fs/fs.h>
#include <zephyr/storage/disk_access.h>

/**
 * @brief Initialize the SD card
 * 
 * This function mounts the SD card file system
 * 
 * @return 0 on success, negative error code on failure
 */
int sdcard_init(void);

/**
 * @brief Write a file to the SD card
 * 
 * This function writes the specified data to a file on the SD card
 * 
 * @param filename Name of the file to write
 * @param data Data to write
 * @param size Size of the data
 * @return 0 on success, negative error code on failure
 */
int sdcard_write_file(const char *filename, const void *data, size_t size);

/**
 * @brief Read a file from the SD card
 * 
 * This function reads the specified file from the SD card
 * 
 * @param filename Name of the file to read
 * @param buffer Buffer to store the read data
 * @param buffer_size Size of the buffer
 * @return Number of bytes read, or negative error code on failure
 */
int sdcard_read_file(const char *filename, void *buffer, size_t buffer_size);

/**
 * @brief List files in a directory
 * 
 * This function lists files in the specified directory on the SD card
 * 
 * @param path Path to the directory
 * @return 0 on success, negative error code on failure
 */
int sdcard_list_files(const char *path);

#endif /* SDCARD_HANDLER_H */
```

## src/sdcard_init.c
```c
/**
 * @file sdcard_init.c
 * @brief Delayed SD card initialization
 * 
 * This file implements a safe mechanism to initialize the SD card
 * after the system has fully booted.
 */

#include <zephyr/kernel.h>
#include <zephyr/logging/log.h>
#include "sdcard_handler.h"
#include "sdcard_test.h"
#include "sdcard_init.h"

LOG_MODULE_REGISTER(sdcard_init, LOG_LEVEL_INF);

/* Define a dedicated work queue for SD card operations with a larger stack */
#define SDCARD_STACK_SIZE 4096
K_THREAD_STACK_DEFINE(sdcard_stack_area, SDCARD_STACK_SIZE);
static struct k_work_q sdcard_work_q;
static struct k_work_delayable sdcard_init_work;

/**
 * @brief SD card initialization work handler
 * 
 * This function is called by the work queue to initialize the SD card
 * and run a simple test.
 */
static void sdcard_init_work_handler(struct k_work *work)
{
    LOG_INF("Starting delayed SD card initialization");
    run_sdcard_test();
}

/**
 * @brief Initialize the SD card subsystem asynchronously
 * 
 * This function schedules the SD card initialization to happen
 * after a delay to ensure the system is fully booted.
 */
int sdcard_init_async(void)
{
    int ret;

    /* Initialize the work queue for SD card operations - use a low priority (higher number)
     * to avoid interfering with BLE operations which are typically higher priority */
    k_work_queue_start(&sdcard_work_q, sdcard_stack_area,
                      K_THREAD_STACK_SIZEOF(sdcard_stack_area),
                      K_PRIO_PREEMPT(10),
                      NULL);
    k_thread_name_set(&sdcard_work_q.thread, "sdcard_workq");

    /* Initialize the work item for SD card initialization */
    k_work_init_delayable(&sdcard_init_work, sdcard_init_work_handler);

    /* Schedule the work item with a long delay to ensure system is fully stable
     * 15 seconds is chosen to ensure that Bluetooth is fully initialized and 
     * any initial connections are established first */
    ret = k_work_schedule_for_queue(&sdcard_work_q, &sdcard_init_work, 
                                   K_SECONDS(15));
    if (ret < 0) {
        LOG_ERR("Failed to schedule SD card initialization: %d", ret);
        return ret;
    }

    LOG_INF("SD card initialization scheduled for 15 seconds from now");
    return 0;
}
```

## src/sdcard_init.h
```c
/**
 * @file sdcard_init.h
 * @brief Header for SD card initialization
 * 
 * This file provides functions to initialize the SD card subsystem
 * in a safe manner using a dedicated work queue.
 */

#ifndef SDCARD_INIT_H
#define SDCARD_INIT_H

#include <zephyr/kernel.h>

/**
 * @brief Initialize SD card subsystem asynchronously
 * 
 * This function schedules the SD card initialization to happen
 * after a delay to ensure the system is fully booted.
 * 
 * @return 0 on success (scheduling succeeded), negative error code on failure
 */
int sdcard_init_async(void);

#endif /* SDCARD_INIT_H */
```
